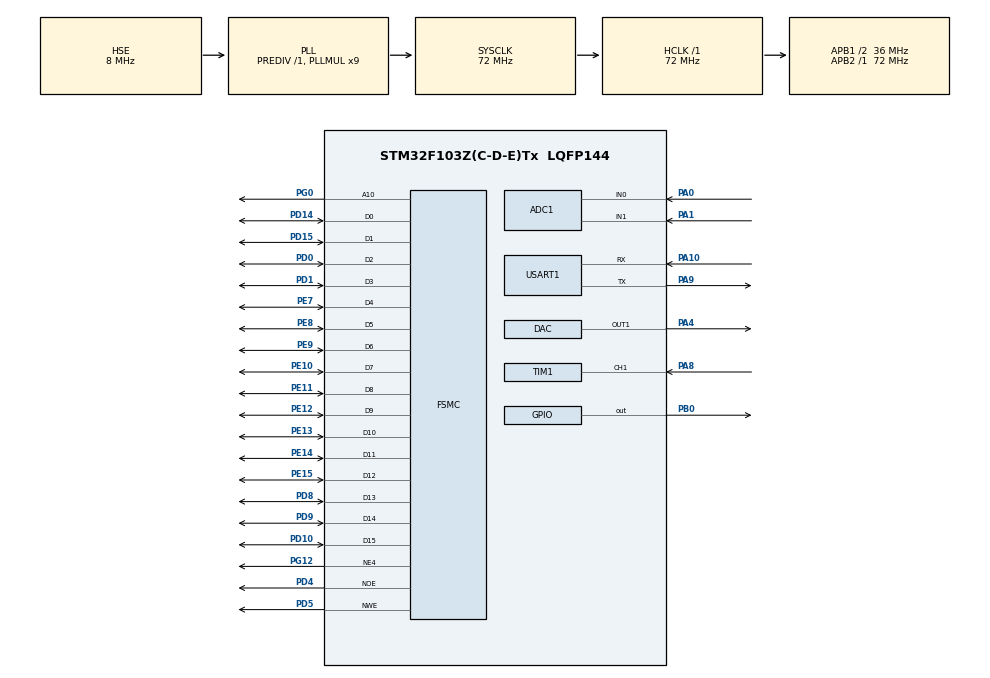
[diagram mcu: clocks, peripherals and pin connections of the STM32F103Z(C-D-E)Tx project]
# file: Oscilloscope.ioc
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ADC1.Channel-0\#ChannelRegularConversion=ADC_CHANNEL_1
ADC1.Channel-1\#ChannelRegularConversion=ADC_CHANNEL_0
ADC1.ExternalTrigConv=ADC_EXTERNALTRIGCONV_T3_TRGO
ADC1.NbrOfConversion=2
ADC1.NbrOfConversionFlag=1
ADC1.Rank-0\#ChannelRegularConversion=1
ADC1.Rank-1\#ChannelRegularConversion=2
ADC1.SamplingTime-0\#ChannelRegularConversion=ADC_SAMPLETIME_1CYCLE_5
ADC1.SamplingTime-1\#ChannelRegularConversion=ADC_SAMPLETIME_1CYCLE_5
ADC1.master=1
Dma.ADC1.0.Direction=DMA_PERIPH_TO_MEMORY
Dma.ADC1.0.Instance=DMA1_Channel1
Dma.ADC1.0.MemDataAlignment=DMA_MDATAALIGN_HALFWORD
Dma.ADC1.0.MemInc=DMA_MINC_ENABLE
Dma.ADC1.0.Mode=DMA_CIRCULAR
Dma.ADC1.0.PeriphDataAlignment=DMA_PDATAALIGN_HALFWORD
Dma.ADC1.0.PeriphInc=DMA_PINC_DISABLE
Dma.ADC1.0.Priority=DMA_PRIORITY_MEDIUM
Dma.Request0=ADC1
Mcu.Family=STM32F1
Mcu.Name=STM32F103Z(C-D-E)Tx
Mcu.Package=LQFP144
NVIC.DMA1_Channel1_IRQn=true\:0\:0\:false\:false\:true\:false\:true
NVIC.PriorityGroup=NVIC_PRIORITYGROUP_4
NVIC.TIM1_CC_IRQn=true\:0\:0\:false\:false\:true\:true\:true
OSC_IN.Mode=HSE-External-Oscillator
OSC_IN.Signal=RCC_OSC_IN
OSC_OUT.Mode=HSE-External-Oscillator
OSC_OUT.Signal=RCC_OSC_OUT
PA0-WKUP.Signal=ADCx_IN0
PA1.Signal=ADCx_IN1
PA10.Mode=Asynchronous
PA10.Signal=USART1_RX
PA13.Mode=Trace_Asynchronous_SW
PA13.Signal=SYS_JTMS-SWDIO
PA14.Mode=Trace_Asynchronous_SW
PA14.Signal=SYS_JTCK-SWCLK
PA4.Signal=COMP_DAC1_group
PA8.Signal=S_TIM1_CH1
PA9.Mode=Asynchronous
PA9.Signal=USART1_TX
PB0.Signal=GPIO_Output
PB3.Mode=Trace_Asynchronous_SW
PB3.Signal=SYS_JTDO-TRACESWO
PD0.Signal=FSMC_D2_DA2
PD1.Signal=FSMC_D3_DA3
PD10.Signal=FSMC_D15_DA15
PD14.Signal=FSMC_D0_DA0
PD15.Signal=FSMC_D1_DA1
PD4.Signal=FSMC_NOE
PD5.Signal=FSMC_NWE
PD8.Signal=FSMC_D13_DA13
PD9.Signal=FSMC_D14_DA14
PE10.Signal=FSMC_D7_DA7
PE11.Signal=FSMC_D8_DA8
PE12.Signal=FSMC_D9_DA9
PE13.Signal=FSMC_D10_DA10
PE14.Signal=FSMC_D11_DA11
PE15.Signal=FSMC_D12_DA12
PE7.Signal=FSMC_D4_DA4
PE8.Signal=FSMC_D5_DA5
PE9.Signal=FSMC_D6_DA6
PG0.Signal=FSMC_A10
PG12.Mode=NorPsramChipSelect4_1
PG12.Signal=FSMC_NE4
ProjectManager.HeapSize=0x200
ProjectManager.StackSize=0x400
ProjectManager.TargetToolchain=MDK-ARM V5.27
RCC.ADCPresc=RCC_ADCPCLK2_DIV6
RCC.AHBFreq_Value=72000000
RCC.APB1CLKDivider=RCC_HCLK_DIV2
RCC.APB1Freq_Value=36000000
RCC.APB1TimFreq_Value=72000000
RCC.APB2Freq_Value=72000000
RCC.APB2TimFreq_Value=72000000
RCC.HCLKFreq_Value=72000000
RCC.PLLMUL=RCC_PLL_MUL9
RCC.PLLSourceVirtual=RCC_PLLSOURCE_HSE
RCC.SYSCLKFreq_VALUE=72000000
RCC.SYSCLKSource=RCC_SYSCLKSOURCE_PLLCLK
RCC.USBFreq_Value=72000000
SH.ADCx_IN0.0=ADC1_IN0,IN0
SH.ADCx_IN1.0=ADC1_IN1,IN1
SH.COMP_DAC1_group.0=DAC_OUT1,DAC_OUT1
SH.FSMC_A10.0=FSMC_A10,A10_1
SH.FSMC_D0_DA0.0=FSMC_D0,16b-d1
SH.FSMC_D10_DA10.0=FSMC_D10,16b-d1
SH.FSMC_D11_DA11.0=FSMC_D11,16b-d1
SH.FSMC_D12_DA12.0=FSMC_D12,16b-d1
SH.FSMC_D13_DA13.0=FSMC_D13,16b-d1
SH.FSMC_D14_DA14.0=FSMC_D14,16b-d1
SH.FSMC_D15_DA15.0=FSMC_D15,16b-d1
SH.FSMC_D1_DA1.0=FSMC_D1,16b-d1
SH.FSMC_D2_DA2.0=FSMC_D2,16b-d1
SH.FSMC_D3_DA3.0=FSMC_D3,16b-d1
SH.FSMC_D4_DA4.0=FSMC_D4,16b-d1
SH.FSMC_D5_DA5.0=FSMC_D5,16b-d1
SH.FSMC_D6_DA6.0=FSMC_D6,16b-d1
SH.FSMC_D7_DA7.0=FSMC_D7,16b-d1
SH.FSMC_D8_DA8.0=FSMC_D8,16b-d1
SH.FSMC_D9_DA9.0=FSMC_D9,16b-d1
SH.FSMC_NOE.0=FSMC_NOE,Lcd1
SH.FSMC_NWE.0=FSMC_NWE,Lcd1
SH.S_TIM1_CH1.0=TIM1_CH1,TriggerSource_TI1FP1
SH.S_TIM1_CH1.1=TIM1_CH1,Input_Capture1_from_TI1
SH.S_TIM1_CH1.2=TIM1_CH1,Input_Capture2_from_TI1
TIM1.Channel-Input_Capture1_from_TI1=TIM_CHANNEL_1
TIM1.Channel-Input_Capture2_from_TI1=TIM_CHANNEL_2
TIM1.ICPolarity_CH2=TIM_INPUTCHANNELPOLARITY_FALLING
TIM3.Period=1000-1
TIM3.Prescaler=719
TIM3.TIM_MasterOutputTrigger=TIM_TRGO_UPDATE
USART1.VirtualMode=VM_ASYNC
VP_TIM1_VS_ClockSourceINT.Mode=Internal
VP_TIM1_VS_ControllerModeReset.Mode=Reset Mode
VP_TIM3_VS_ClockSourceINT.Mode=Internal
board=custom

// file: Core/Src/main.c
/* USER CODE BEGIN Header */
/**
  ******************************************************************************
  * @file           : main.c
  * @brief          : Main program body
  ******************************************************************************
  * @attention
  *
  * <h2><center>&copy; Copyright (c) 2020 STMicroelectronics.
  * All rights reserved.</center></h2>
  *
  * This software component is licensed by ST under BSD 3-Clause license,
  * the "License"; You may not use this file except in compliance with the
  * License. You may obtain a copy of the License at:
  *                        opensource.org/licenses/BSD-3-Clause
  *
  ******************************************************************************
  */
/* USER CODE END Header */
#include "main.h"
#include "adc.h"
#include "dac.h"
#include "dma.h"
#include "tim.h"
#include "usart.h"
#include "gpio.h"
#include "fsmc.h"

/* USER CODE BEGIN Includes */
uint32_t ADC_Value[2]={0,0};//ad采样值
uint32_t Uart_BUFF[2]={0};
/* USER CODE END Includes */

void SystemClock_Config(void);

int main(void)
{

  /* MCU Configuration--------------------------------------------------------*/

  /* Reset of all peripherals, Initializes the Flash interface and the Systick. */
  HAL_Init();

  /* Configure the system clock */
  SystemClock_Config();

  /* Initialize all configured peripherals */
  MX_GPIO_Init();
  MX_DMA_Init();
  MX_FSMC_Init();
  MX_ADC1_Init();
  MX_DAC_Init();
  MX_TIM1_Init();
  MX_USART1_UART_Init();
  MX_TIM3_Init();
  /* USER CODE BEGIN 2 */
  HAL_TIM_IC_Start_IT(&htim1,TIM_CHANNEL_1);
	HAL_TIM_IC_Start_IT(&htim1,TIM_CHANNEL_2);
	HAL_ADC_Start_DMA(&hadc1,ADC_Value,sizeof(ADC_Value));

//	HAL_ADC_Start_IT(&hadc1);

  /* USER CODE END 2 */

  /* Infinite loop */
  while (1)
  {

  }
}

void SystemClock_Config(void)
{
  RCC_OscInitTypeDef RCC_OscInitStruct = {0};
  RCC_ClkInitTypeDef RCC_ClkInitStruct = {0};
  RCC_PeriphCLKInitTypeDef PeriphClkInit = {0};

  /** Initializes the RCC Oscillators according to the specified parameters
  * in the RCC_OscInitTypeDef structure.
  */
  RCC_OscInitStruct.OscillatorType = RCC_OSCILLATORTYPE_HSE;
  RCC_OscInitStruct.HSEState = RCC_HSE_ON;
  RCC_OscInitStruct.HSEPredivValue = RCC_HSE_PREDIV_DIV1;
  RCC_OscInitStruct.HSIState = RCC_HSI_ON;
  RCC_OscInitStruct.PLL.PLLState = RCC_PLL_ON;
  RCC_OscInitStruct.PLL.PLLSource = RCC_PLLSOURCE_HSE;
  RCC_OscInitStruct.PLL.PLLMUL = RCC_PLL_MUL9;
  if (HAL_RCC_OscConfig(&RCC_OscInitStruct) != HAL_OK)
  {
    Error_Handler();
  }
  /** Initializes the CPU, AHB and APB buses clocks
  */
  RCC_ClkInitStruct.ClockType = RCC_CLOCKTYPE_HCLK|RCC_CLOCKTYPE_SYSCLK
                              |RCC_CLOCKTYPE_PCLK1|RCC_CLOCKTYPE_PCLK2;
  RCC_ClkInitStruct.SYSCLKSource = RCC_SYSCLKSOURCE_PLLCLK;
  RCC_ClkInitStruct.AHBCLKDivider = RCC_SYSCLK_DIV1;
  RCC_ClkInitStruct.APB1CLKDivider = RCC_HCLK_DIV2;
  RCC_ClkInitStruct.APB2CLKDivider = RCC_HCLK_DIV1;

  if (HAL_RCC_ClockConfig(&RCC_ClkInitStruct, FLASH_LATENCY_2) != HAL_OK)
  {
    Error_Handler();
  }
  PeriphClkInit.PeriphClockSelection = RCC_PERIPHCLK_ADC;
  PeriphClkInit.AdcClockSelection = RCC_ADCPCLK2_DIV6;
  if (HAL_RCCEx_PeriphCLKConfig(&PeriphClkInit) != HAL_OK)
  {
    Error_Handler();
  }
}

/* USER CODE BEGIN 4 */

//__IO float duty=0;
//__IO float frep=0;
//volatile static uint32_t tmp1 = 0, tmp2 = 0;
//	void HAL_ADC_ConvCpltCallback(ADC_HandleTypeDef* hadc)
//{
//	static uint16_t ADC_Value;
//	static float Voltage;
//	if(hadc == &hadc1)
//	{
//		ADC_Value = HAL_ADC_GetValue(hadc);
//		Voltage = (float)ADC_Value / 4095.0f * 3.3f;
//		printf("PA1 True Voltage value : %1.4f \r\n",Voltage);
//		printf("PA1 ADC_Value    value : %d    \r\n",ADC_Value);
//		//sprintf((char*)Voltage_Show,"Voltage:%.4f",Voltage);//将LCD ID打印到lcd_id数组。
//	}
//}

__IO float duty=0;
__IO float frep=0;
volatile static uint32_t tmp1 = 0, tmp2 = 0;
void HAL_TIM_IC_CaptureCallback(TIM_HandleTypeDef *htim)
{

    if (htim->Channel == HAL_TIM_ACTIVE_CHANNEL_1)
    {
        tmp1 = HAL_TIM_ReadCapturedValue(&htim1, TIM_CHANNEL_1);//周期
    }
   if (htim->Channel == HAL_TIM_ACTIVE_CHANNEL_2)
    {
        tmp2 = HAL_TIM_ReadCapturedValue(&htim1, TIM_CHANNEL_2);//占空比
    }
		if(tmp1!=0)
		{
		duty=(float)((tmp2+1)*100)/(tmp1+1);
    frep=(42000000)/(float)(tmp1+1);
		printf("占空比：%0.2f%% 频率：%0.2fHz\r\n",duty,frep);
		}
		else duty=0;frep=0;
}
/* USER CODE END 4 */

void Error_Handler(void)
{
}

/************************ (C) COPYRIGHT STMicroelectronics *****END OF FILE****/
